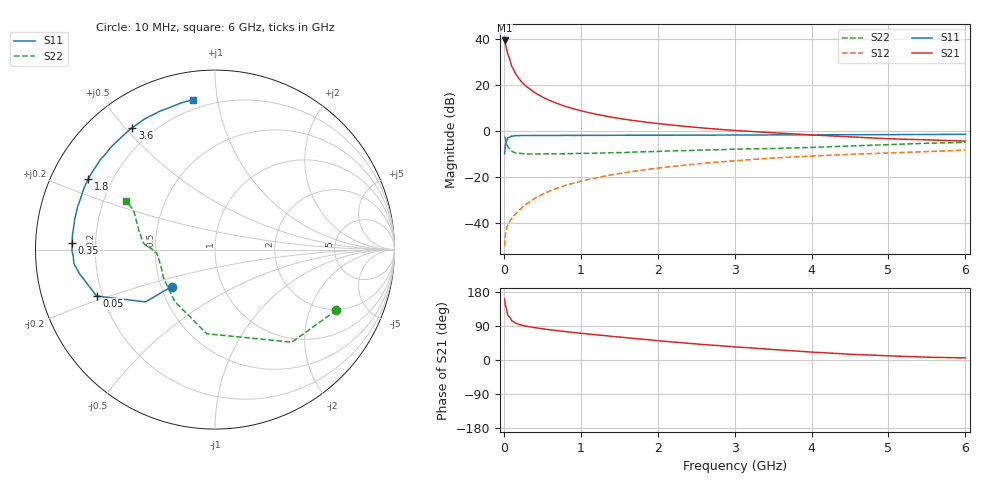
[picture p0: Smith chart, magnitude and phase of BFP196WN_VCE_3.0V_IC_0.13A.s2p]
! Infineon Technologies  Discrete & RF Semiconductors
! BFP196WN
! VCE =  3.0 V,  IC = 0.13 A
! Common Emitter S-Parameters:  Jan 2017
# GHz  S  MA  R  50
!  f  S11  S21  S12  S22
! GHz  MAG  ANG  MAG  ANG  MAG  ANG  MAG  ANG
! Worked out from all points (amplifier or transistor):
!   77 points, 10 MHz to 6 GHz, reference 50 ohm
!   highest |S21| = 39.4 dB at 10 MHz (marker M1)
!   |S21| within 3 dB of that: start of sweep to 31.09 MHz
!   unconditionally stable (mu >= 1): 288.1 MHz to 2.787 GHz
!   at 130 MHz: K = 0.81, MSG = 31.7 dB, |S12| = -37.0 dB
!   at 2.2 GHz: K = 1.03, MAG = 7.9 dB, |S12| = -15.4 dB
!   at 6 GHz: K = 0.94, MSG = 2.0 dB, |S12| = -8.3 dB
!   S11 on the Smith chart (normalised r, x): 10 MHz: 0.57, -0.26; 50 MHz: 0.18, -0.18; 350 MHz: 0.11, +0.02; 1.8 GHz: 0.11, +0.26; 3.6 GHz: 0.13, +0.52; 6 GHz: 0.15, +0.85
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0.01  0.3179 -139.6  93.33 161.0  0.0031 74.3  0.7563 -26.5
0.02  0.4845 -143.0  78.93 144.1  0.0054 57.8  0.6704 -50.3
0.05  0.7087 -158.6  47.83 118.1  0.0091 49.5  0.4711 -95.6
0.1  0.7676 -170.0  26.2 103.7  0.0122 55.5  0.3661 -127.7
0.15  0.7903 -174.4  17.92 97.5  0.0155 61.6  0.3334 -143.3
0.2  0.7907 -177.4  13.52 93.8  0.0186 66.1  0.3269 -151.7
0.25  0.7967 -179.3  10.87 91.0  0.0227 67.0  0.3203 -156.6
0.3  0.7962 178.7  9.079 88.9  0.0259 68.7  0.3159 -160.9
0.35  0.7966 177.3  7.956 87.4  0.0299 71.1  0.315 -163.0
0.4  0.7975 175.9  6.841 85.3  0.034 72.9  0.3145 -165.2
0.5  0.7986 173.7  5.478 82.4  0.0416 73.2  0.3171 -168.4
0.6  0.7974 171.5  4.576 79.8  0.0496 73.4  0.3183 -170.8
0.8  0.8002 167.6  3.433 74.9  0.0652 74.1  0.3191 -173.4
1.1  0.802 162.4  2.513 68.6  0.0878 72.3  0.3253 -176.5
1.4  0.8028 157.4  2 62.5  0.1105 70.5  0.3365 -178.3
1.8  0.8082 151.0  1.595 54.8  0.1401 67.2  0.3517 179.6
2.1  0.8087 146.5  1.391 49.3  0.1619 64.8  0.3631 178.4
3.1  0.814 131.5  1.002 33.4  0.2304 55.4  0.4038 173.8
3.6  0.8204 124.1  0.893 26.4  0.2618 50.9  0.4191 169.8
4.1  0.8264 117.0  0.804 19.8  0.2891 46.3  0.4444 164.3
5.1  0.8325 106.3  0.669 10.3  0.3358 38.1  0.5102 154.0
6  0.844 98.5  0.601 5.5  0.3833 31.9  0.563 151.5
